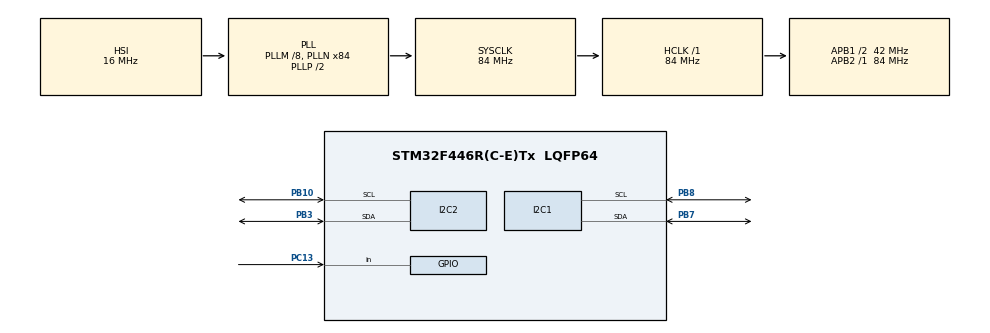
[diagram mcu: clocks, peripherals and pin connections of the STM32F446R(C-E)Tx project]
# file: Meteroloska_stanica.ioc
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Mcu.Family=STM32F4
Mcu.Name=STM32F446R(C-E)Tx
Mcu.Package=LQFP64
NVIC.PriorityGroup=NVIC_PRIORITYGROUP_4
PB10.Mode=I2C
PB10.Signal=I2C2_SCL
PB3.Mode=I2C
PB3.Signal=I2C2_SDA
PB7.Mode=I2C
PB7.Signal=I2C1_SDA
PB8.Mode=I2C
PB8.Signal=I2C1_SCL
PC13.GPIO_PuPd=GPIO_PULLUP
PC13.Signal=GPIO_Input
ProjectManager.HeapSize=0x200
ProjectManager.StackSize=0x400
ProjectManager.TargetToolchain=STM32CubeIDE
RCC.AHBFreq_Value=84000000
RCC.APB1CLKDivider=RCC_HCLK_DIV2
RCC.APB1Freq_Value=42000000
RCC.APB1TimFreq_Value=84000000
RCC.APB2Freq_Value=84000000
RCC.APB2TimFreq_Value=84000000
RCC.CortexFreq_Value=84000000
RCC.HCLKFreq_Value=84000000
RCC.PLLI2SM=4
RCC.PLLI2SN=336
RCC.PLLM=8
RCC.PLLN=84
RCC.PLLSAIN=336
RCC.SYSCLKFreq_VALUE=84000000
RCC.SYSCLKSource=RCC_SYSCLKSOURCE_PLLCLK
RCC.USBFreq_Value=84000000
RCC.VCOOutputFreq_Value=168000000
board=custom

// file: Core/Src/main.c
/* USER CODE BEGIN Header */
/* USER CODE END Header */
#include "main.h"
#include "i2c.h"
#include "gpio.h"

/* USER CODE BEGIN Includes */
#include "bme280.h"
#include "lcd_i2c.h"
#include <stdio.h>
/* USER CODE END Includes */

/* USER CODE BEGIN PTD */
typedef enum
{
    EKRAN_TEMPERATURA = 0,
    EKRAN_VLAGA,
    EKRAN_TLAK,
    EKRAN_BROJ
} Ekran_t;
/* USER CODE END PTD */

/* USER CODE BEGIN PD */
#define TIPKALO_PORT          GPIOC
#define TIPKALO_PIN           GPIO_PIN_13
#define TIPKALO_AKTIVNO       GPIO_PIN_RESET

#define ODSKAKIVANJE_MS       40U
#define OSVJEZI_MS            1000U
/* USER CODE END PD */

/* USER CODE BEGIN PV */
static Zaslon_t  zaslon;
static Senzor_t  senzor;

static Ekran_t   ekran = EKRAN_TEMPERATURA;
static float     temperatura = 0.0f;
static float     tlak        = 0.0f;
static float     vlaga       = 0.0f;
static bool      senzor_radi = false;
/* USER CODE END PV */

void SystemClock_Config(void);
/* USER CODE BEGIN PFP */
static void FormatirajBroj(float vrijednost, uint8_t decimala, char *izlaz, size_t velicina);
static void PrikaziEkran(void);
static bool TipkaloPritisnuto(void);
static void I2C_UkljuciInternePullUp(void);
/* USER CODE END PFP */

/* USER CODE BEGIN 0 */

static void I2C_UkljuciInternePullUp(void)
{
    GPIO_InitTypeDef g = {0};

    g.Mode      = GPIO_MODE_AF_OD;
    g.Pull      = GPIO_PULLUP;
    g.Speed     = GPIO_SPEED_FREQ_VERY_HIGH;

    g.Pin       = GPIO_PIN_7 | GPIO_PIN_8;
    g.Alternate = GPIO_AF4_I2C1;
    HAL_GPIO_Init(GPIOB, &g);

    g.Pin       = GPIO_PIN_3 | GPIO_PIN_10;
    g.Alternate = GPIO_AF4_I2C2;
    HAL_GPIO_Init(GPIOB, &g);
}

static void FormatirajBroj(float vrijednost, uint8_t decimala, char *izlaz, size_t velicina)
{
    const char *predznak = "";
    int32_t skala = 1;
    int32_t ukupno, cijeli, ostatak;

    if (vrijednost < 0.0f)
    {
        predznak = "-";
        vrijednost = -vrijednost;
    }

    for (uint8_t i = 0; i < decimala; i++)
        skala *= 10;

    ukupno  = (int32_t)(vrijednost * (float)skala + 0.5f);
    cijeli  = ukupno / skala;
    ostatak = ukupno % skala;

    if (decimala == 0)
        snprintf(izlaz, velicina, "%s%ld", predznak, (long)cijeli);
    else if (decimala == 1)
        snprintf(izlaz, velicina, "%s%ld.%01ld", predznak, (long)cijeli, (long)ostatak);
    else
        snprintf(izlaz, velicina, "%s%ld.%02ld", predznak, (long)cijeli, (long)ostatak);
}

static void PrikaziEkran(void)
{
    char broj[12];
    char redak[17];

    if (!senzor_radi)
    {
        LCD_IspisiRedak(&zaslon, 0, "Greska senzora!");
        LCD_IspisiRedak(&zaslon, 1, "Provjeri spoj");
        return;
    }

    switch (ekran)
    {
    case EKRAN_TEMPERATURA:
        FormatirajBroj(temperatura, 1, broj, sizeof(broj));
        snprintf(redak, sizeof(redak), "%s \xDF" "C", broj);
        LCD_IspisiRedak(&zaslon, 0, "Temperatura:");
        LCD_IspisiRedak(&zaslon, 1, redak);
        break;

    case EKRAN_VLAGA:
        FormatirajBroj(vlaga, 1, broj, sizeof(broj));
        snprintf(redak, sizeof(redak), "%s %%RH", broj);
        LCD_IspisiRedak(&zaslon, 0, "Vlaga:");
        LCD_IspisiRedak(&zaslon, 1, redak);
        break;

    case EKRAN_TLAK:
        FormatirajBroj(tlak, 1, broj, sizeof(broj));
        snprintf(redak, sizeof(redak), "%s hPa", broj);
        LCD_IspisiRedak(&zaslon, 0, "Tlak:");
        LCD_IspisiRedak(&zaslon, 1, redak);
        break;

    default:
        break;
    }
}

static bool TipkaloPritisnuto(void)
{
    static GPIO_PinState zadnje_stanje = GPIO_PIN_SET;
    static uint32_t zadnja_promjena = 0;
    static bool obradeno = true;

    GPIO_PinState sada = HAL_GPIO_ReadPin(TIPKALO_PORT, TIPKALO_PIN);

    if (sada != zadnje_stanje)
    {
        zadnje_stanje = sada;
        zadnja_promjena = HAL_GetTick();
        obradeno = false;
        return false;
    }

    if (!obradeno && (HAL_GetTick() - zadnja_promjena) > ODSKAKIVANJE_MS)
    {
        obradeno = true;
        if (sada == TIPKALO_AKTIVNO)
            return true;
    }

    return false;
}
/* USER CODE END 0 */

int main(void)
{
  /* USER CODE BEGIN 1 */
  uint32_t zadnje_mjerenje = 0;
  /* USER CODE END 1 */

  HAL_Init();

  SystemClock_Config();

  MX_GPIO_Init();
  MX_I2C1_Init();
  MX_I2C2_Init();
  /* USER CODE BEGIN 2 */

  I2C_UkljuciInternePullUp();

  if (LCD_Pokreni(&zaslon, &hi2c1) != HAL_OK)
      Error_Handler();

  LCD_IspisiRedak(&zaslon, 0, "Meteo stanica");
  LCD_IspisiRedak(&zaslon, 1, "Pokretanje...");
  HAL_Delay(1000);

  senzor_radi = (BME280_Pokreni(&senzor, &hi2c2) == HAL_OK);

  if (senzor_radi)
  {
      BME280_Ocitaj(&senzor, &temperatura, &tlak, &vlaga);
      zadnje_mjerenje = HAL_GetTick();
  }

  PrikaziEkran();
  /* USER CODE END 2 */

  /* USER CODE BEGIN WHILE */
  while (1)
  {
      if (TipkaloPritisnuto())
      {
          ekran = (Ekran_t)((ekran + 1) % EKRAN_BROJ);
          PrikaziEkran();
      }

      if (senzor_radi && (HAL_GetTick() - zadnje_mjerenje) >= OSVJEZI_MS)
      {
          zadnje_mjerenje = HAL_GetTick();

          if (BME280_Ocitaj(&senzor, &temperatura, &tlak, &vlaga) != HAL_OK)
              senzor_radi = false;

          PrikaziEkran();
      }
    /* USER CODE END WHILE */

  }
}

void SystemClock_Config(void)
{
  RCC_OscInitTypeDef RCC_OscInitStruct = {0};
  RCC_ClkInitTypeDef RCC_ClkInitStruct = {0};

  __HAL_RCC_PWR_CLK_ENABLE();
  __HAL_PWR_VOLTAGESCALING_CONFIG(PWR_REGULATOR_VOLTAGE_SCALE3);

  RCC_OscInitStruct.OscillatorType = RCC_OSCILLATORTYPE_HSI;
  RCC_OscInitStruct.HSIState = RCC_HSI_ON;
  RCC_OscInitStruct.HSICalibrationValue = RCC_HSICALIBRATION_DEFAULT;
  RCC_OscInitStruct.PLL.PLLState = RCC_PLL_ON;
  RCC_OscInitStruct.PLL.PLLSource = RCC_PLLSOURCE_HSI;
  RCC_OscInitStruct.PLL.PLLM = 8;
  RCC_OscInitStruct.PLL.PLLN = 84;
  RCC_OscInitStruct.PLL.PLLP = RCC_PLLP_DIV2;
  RCC_OscInitStruct.PLL.PLLQ = 2;
  RCC_OscInitStruct.PLL.PLLR = 2;
  if (HAL_RCC_OscConfig(&RCC_OscInitStruct) != HAL_OK)
  {
    Error_Handler();
  }

  RCC_ClkInitStruct.ClockType = RCC_CLOCKTYPE_HCLK|RCC_CLOCKTYPE_SYSCLK
                              |RCC_CLOCKTYPE_PCLK1|RCC_CLOCKTYPE_PCLK2;
  RCC_ClkInitStruct.SYSCLKSource = RCC_SYSCLKSOURCE_PLLCLK;
  RCC_ClkInitStruct.AHBCLKDivider = RCC_SYSCLK_DIV1;
  RCC_ClkInitStruct.APB1CLKDivider = RCC_HCLK_DIV2;
  RCC_ClkInitStruct.APB2CLKDivider = RCC_HCLK_DIV1;

  if (HAL_RCC_ClockConfig(&RCC_ClkInitStruct, FLASH_LATENCY_2) != HAL_OK)
  {
    Error_Handler();
  }
}

void Error_Handler(void)
{
  __disable_irq();
  while (1)
  {
  }
}
